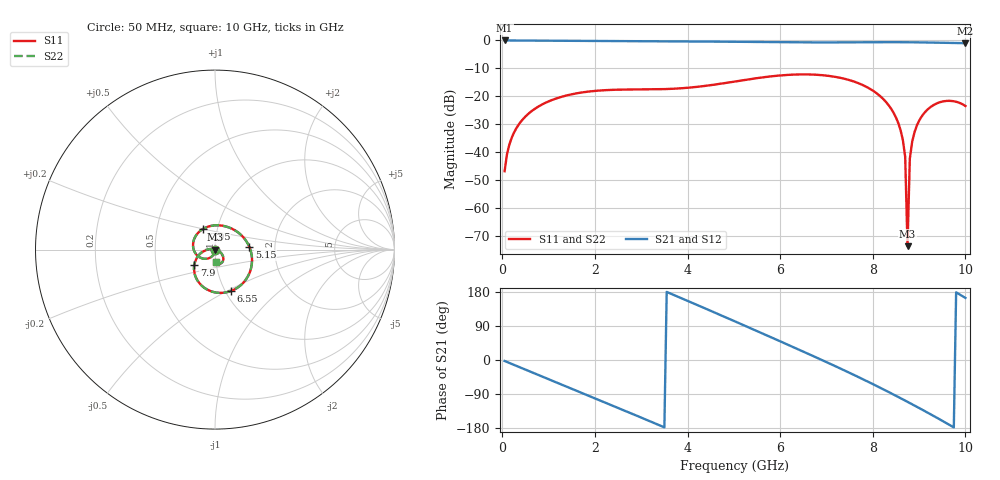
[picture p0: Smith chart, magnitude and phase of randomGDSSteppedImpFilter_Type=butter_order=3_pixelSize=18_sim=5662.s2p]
! freq	dB(S11)	phase(S11)	dB(S12)	phase(S12)
!  dB(S21)	phase(S21)	dB(S22)	phase(S22)
!S-par simulation data
#  GHz  S  DB  R 50
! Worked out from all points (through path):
!   200 points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, 50 MHz to 10 GHz, reference 50 ohm
!   highest |S21| = 0.00 dB at 50 MHz (marker M1); lowest = -1.0 dB at 10 GHz (marker M2)
!   group delay of S21, straight-line fit = 151 ps
!   lowest |S11| = -73.5 dB at 8.75 GHz (marker M3), VSWR 1.00, Z = 50 - j3.01e-05 ohm
!   |S11| at or under -10 dB: start of sweep to end of sweep
!   |S22| runs from -55.6 to -12.1 dB; largest |S21 - S12| = 0
!   S11 on the Smith chart (normalised r, x): 50 MHz: 1.00, -0.01; 2.95 GHz: 0.86, +0.20; 5.15 GHz: 1.47, +0.05; 6.55 GHz: 1.06, -0.52; 7.9 GHz: 0.78, -0.14; 10 GHz: 1.00, -0.14
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0.05  -46.73 -91.0  -0.00 -2.6  -0.00 -2.6  -46.83 -91.5
0.2  -34.92 -99.4  -0.02 -10.2  -0.02 -10.2  -34.90 -99.4
0.5  -27.19 -115.7  -0.04 -25.4  -0.04 -25.4  -27.19 -115.7
1.75  -18.52 -179.8  -0.16 -88.4  -0.16 -88.4  -18.51 -179.7
2.95  -17.52 118.9  -0.26 -149.4  -0.26 -149.4  -17.50 119.0
3.4  -17.44 95.7  -0.29 -172.6  -0.29 -172.6  -17.44 95.8
4.15  -16.68 56.7  -0.36 148.3  -0.36 148.3  -16.70 56.9
5.05  -14.60 10.0  -0.49 100.5  -0.49 100.5  -14.60 9.9
5.15  -14.34 4.8  -0.50 95.2  -0.50 95.2  -14.34 4.7
5.8  -12.84 -29.2  -0.61 60.2  -0.61 60.2  -12.85 -29.4
6.55  -12.14 -68.9  -0.70 19.4  -0.70 19.4  -12.14 -69.2
6.7  -12.19 -77.0  -0.71 11.1  -0.71 11.1  -12.20 -77.3
7.3  -13.36 -109.6  -0.69 -22.4  -0.69 -22.4  -13.37 -110.1
7.9  -16.92 -143.6  -0.63 -57.5  -0.63 -57.5  -16.93 -144.4
8.35  -23.32 -170.1  -0.61 -85.0  -0.61 -85.0  -23.33 -171.7
8.6  -32.04 174.9  -0.62 -100.7  -0.62 -100.7  -32.07 170.8
8.7  -41.61 169.1  -0.63 -107.1  -0.63 -107.1  -41.56 157.0
8.75  -73.53 -179.9  -0.64 -110.3  -0.64 -110.3  -55.63 78.5
8.8  -42.28 -17.7  -0.65 -113.6  -0.65 -113.6  -41.96 -5.3
8.95  -30.50 -26.5  -0.67 -123.3  -0.67 -123.3  -30.46 -23.6
9.4  -22.39 -53.8  -0.79 -153.4  -0.79 -153.4  -22.39 -53.2
10  -23.43 -86.0  -0.98 163.9  -0.98 163.9  -23.48 -86.2
